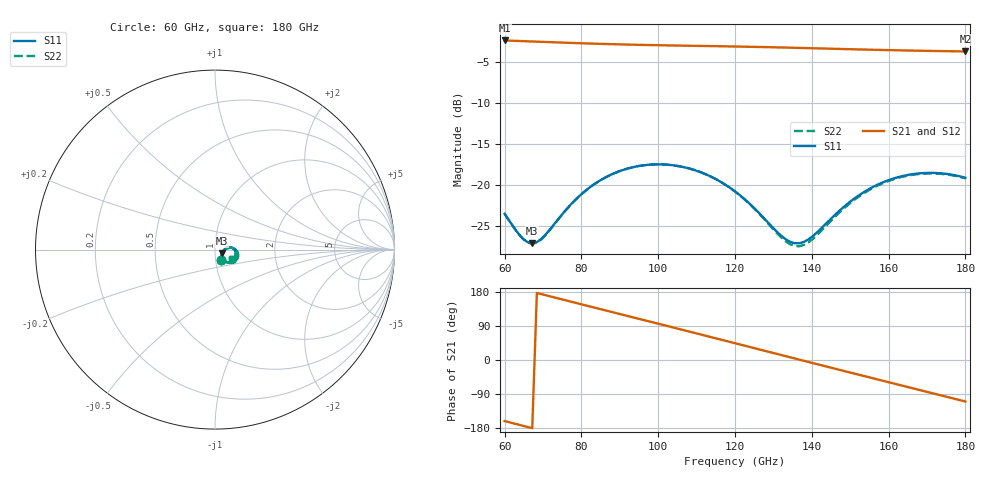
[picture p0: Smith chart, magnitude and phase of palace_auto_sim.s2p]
#  GHZ S DB R 50
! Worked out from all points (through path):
!   101 points, 60 GHz to 180 GHz, reference 50 ohm
!   highest |S21| = -2.41 dB at 60 GHz (marker M1); lowest = -3.7 dB at 180 GHz (marker M2)
!   group delay of S21, straight-line fit = 7.14 ps
!   lowest |S11| = -27.0 dB at 67.2 GHz (marker M3), VSWR 1.09, Z = 54.1 - j2.14 ohm
!   |S11| at or under -10 dB: start of sweep to end of sweep
!   |S22| runs from -27.4 to -17.5 dB; largest |S21 - S12| = 8e-14
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60  -23.45 -60.1  -2.41 -161.1  -2.41 -161.1  -23.45 -60.5
64.8  -26.50 -41.8  -2.49 -173.7  -2.49 -173.7  -26.53 -42.3
67.2  -27.04 -26.3  -2.53 -180.0  -2.53 -180.0  -27.10 -26.8
69.6  -26.49 -11.5  -2.58 173.8  -2.58 173.8  -26.55 -11.8
73.2  -24.55 2.1  -2.64 164.5  -2.64 164.5  -24.60 2.0
80.4  -20.91 6.6  -2.75 145.9  -2.75 145.9  -20.93 6.5
85.2  -19.31 2.4  -2.82 133.6  -2.82 133.6  -19.33 2.3
91.2  -18.08 -5.6  -2.90 118.3  -2.90 118.3  -18.08 -5.8
96  -17.58 -13.0  -2.95 106.0  -2.95 106.0  -17.58 -13.3
100.8  -17.46 -20.8  -2.99 93.7  -2.99 93.7  -17.46 -21.2
105.6  -17.69 -28.6  -3.03 81.4  -3.03 81.4  -17.69 -29.0
110.4  -18.30 -36.0  -3.07 69.1  -3.07 69.1  -18.29 -36.6
120  -20.74 -47.3  -3.14 44.3  -3.14 44.3  -20.75 -48.3
127.2  -23.82 -47.3  -3.21 25.6  -3.21 25.6  -23.90 -48.7
134.4  -26.87 -27.4  -3.29 7.0  -3.29 7.0  -27.17 -28.7
136.8  -27.04 -16.1  -3.31 0.8  -3.31 0.8  -27.39 -16.9
140.4  -26.11 -1.5  -3.36 -8.4  -3.36 -8.4  -26.45 -1.3
150  -21.98 9.2  -3.47 -33.1  -3.47 -33.1  -22.15 10.0
154.8  -20.48 5.9  -3.53 -45.3  -3.53 -45.3  -20.61 6.6
160.8  -19.24 -1.2  -3.59 -60.6  -3.59 -60.6  -19.34 -0.6
170.4  -18.49 -15.2  -3.68 -85.1  -3.68 -85.1  -18.56 -14.8
180  -19.08 -29.2  -3.74 -109.6  -3.74 -109.6  -19.15 -29.0
